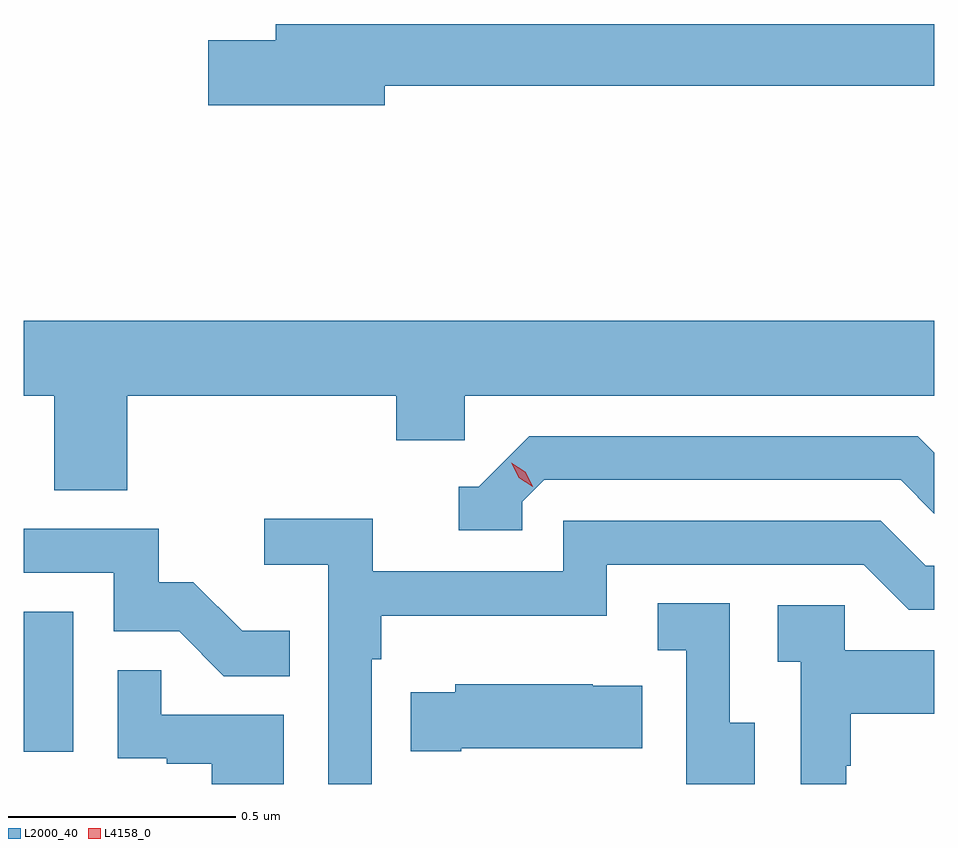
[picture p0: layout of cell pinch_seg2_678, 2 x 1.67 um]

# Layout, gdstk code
import gdstk
lib = gdstk.Library(unit=1e-6, precision=1e-09)
def R(c, l, rs):  # rectangles x0, y0, x1, y1
    for r in rs: c.add(gdstk.rectangle(r[:2], r[2:], *l))
def P(c, l, *ps):  # polygons
    for p in ps: c.add(gdstk.Polygon(p, *l))
L2000_40 = (2000, 40)
L4158_0 = (4158, 0)

pinch_seg2_678 = lib.new_cell('pinch_seg2_678')
R(pinch_seg2_678, L2000_40, [(1019.409,588.246,1019.518,588.553)])
P(pinch_seg2_678, L2000_40, [(1020.202,589.708),(1021.409,589.708),(1021.409,589.844),(1019.963,589.844),(1019.963,589.808),(1019.814,589.808),(1019.814,589.666),(1020.202,589.666)],
  [(1019.636,589.028),(1020.227,589.028),(1020.227,588.93),(1020.378,588.93),(1020.378,589.028),(1021.409,589.028),(1021.409,589.192),(1019.409,589.192),(1019.409,589.028),(1019.476,589.028),(1019.476,588.82),(1019.636,588.82)],
  [(1020.504,588.795),(1020.552,588.843),(1021.335,588.843),(1021.409,588.769),(1021.409,588.902),(1021.372,588.939),(1020.519,588.939),(1020.408,588.828),(1020.365,588.828),(1020.365,588.732),(1020.504,588.732)],
  [(1020.174,588.449),(1020.194,588.449),(1020.194,588.545),(1020.69,588.545),(1020.69,588.657),(1021.254,588.657),(1021.353,588.558),(1021.409,588.558),(1021.409,588.654),(1021.39,588.654),(1021.291,588.753),(1020.594,588.753),(1020.594,588.642),(1020.176,588.642),(1020.176,588.758),(1019.937,588.758),(1019.937,588.656),(1020.078,588.656),(1020.078,588.175),(1020.174,588.175)],
  [(1019.993,588.511),(1019.889,588.511),(1019.782,588.618),(1019.706,588.618),(1019.706,588.735),(1019.409,588.735),(1019.409,588.639),(1019.607,588.639),(1019.607,588.51),(1019.751,588.51),(1019.849,588.412),(1019.993,588.412)],
  [(1021.015,588.309),(1020.96,588.309),(1020.96,588.572),(1020.801,588.572),(1020.801,588.469),(1020.864,588.469),(1020.864,588.175),(1021.015,588.175)],
  [(1021.215,588.215),(1021.225,588.215),(1021.225,588.329),(1021.409,588.329),(1021.409,588.469),(1021.212,588.469),(1021.212,588.567),(1021.065,588.567),(1021.065,588.443),(1021.116,588.443),(1021.116,588.175),(1021.215,588.175)],
  [(1019.98,588.327),(1019.711,588.327),(1019.711,588.425),(1019.616,588.425),(1019.616,588.231),(1019.723,588.231),(1019.723,588.219),(1019.822,588.219),(1019.822,588.175),(1019.98,588.175)],
  [(1020.37,588.254),(1020.767,588.254),(1020.767,588.391),(1020.659,588.391),(1020.659,588.394),(1020.357,588.394),(1020.357,588.376),(1020.259,588.376),(1020.259,588.247),(1020.37,588.247)])
P(pinch_seg2_678, L4158_0, [(1020.527,588.828),(1020.496,588.848),(1020.48,588.88),(1020.48,588.881),(1020.48,588.881),(1020.511,588.861),(1020.527,588.829),(1020.527,588.828)])

lib.write_gds('pinch_seg2_678.gds')
